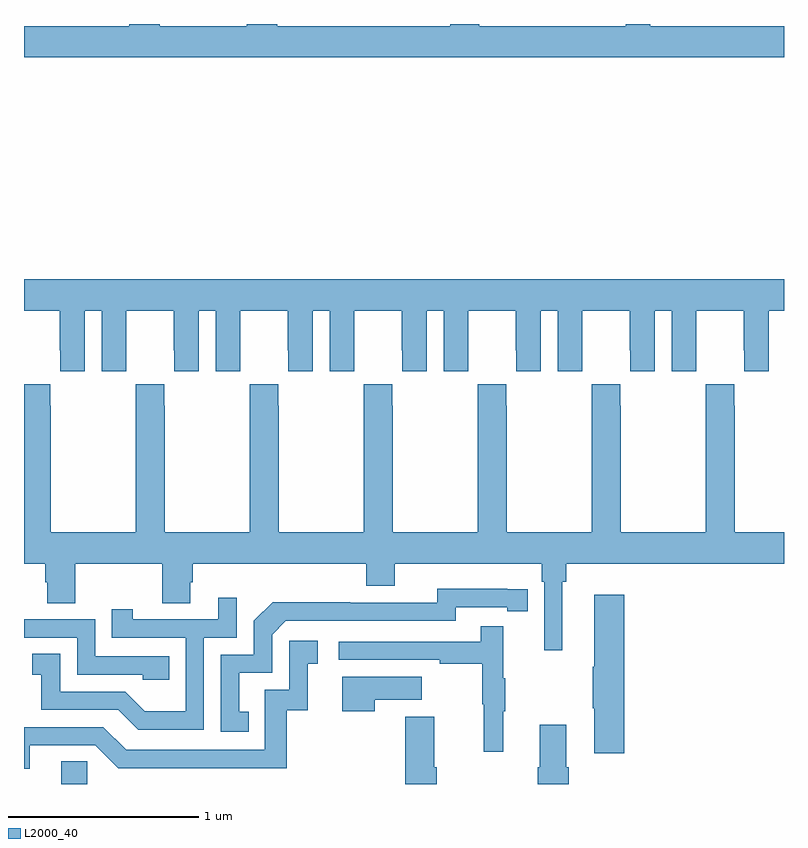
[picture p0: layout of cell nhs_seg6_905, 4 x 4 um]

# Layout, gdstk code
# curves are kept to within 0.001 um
import gdstk
lib = gdstk.Library(unit=1e-6, precision=1e-09)
def R(c, l, rs):  # rectangles x0, y0, x1, y1
    for r in rs: c.add(gdstk.rectangle(r[:2], r[2:], *l))
def P(c, l, *ps):  # polygons
    for p in ps: c.add(gdstk.Polygon(p, *l))
L2000_40 = (2000, 40)

nhs_seg6_905 = lib.new_cell('nhs_seg6_905')
R(nhs_seg6_905, L2000_40, [(167.195,955.5,167.334,955.619)])
P(nhs_seg6_905, L2000_40, [(171,959.488),(170.297,959.488),(170.297,959.5),(170.168,959.5),(170.168,959.488),(169.396,959.488),(169.396,959.5),(169.244,959.5),(169.244,959.488),(168.332,959.488),(168.332,959.5),(168.172,959.5),(168.172,959.488),(167.715,959.488),(167.715,959.5),(167.555,959.5),(167.555,959.488),(167,959.488),(167,959.324),(171,959.324)],
  [(167.32,957.992),(167.408,957.992),(167.408,957.672),(167.538,957.672),(167.538,957.784),(167.539,957.784),(167.539,957.992),(167.789,957.992),(167.789,957.784),(167.79,957.784),(167.79,957.672),(167.92,957.672),(167.92,957.992),(168.008,957.992),(168.008,957.672),(168.138,957.672),(168.138,957.784),(168.139,957.784),(168.139,957.992),(168.389,957.992),(168.389,957.784),(168.39,957.784),(168.39,957.672),(168.52,957.672),(168.52,957.992),(168.608,957.992),(168.608,957.672),(168.738,957.672),(168.738,957.784),(168.739,957.784),(168.739,957.992),(168.989,957.992),(168.989,957.784),(168.99,957.784),(168.99,957.672),(169.12,957.672),(169.12,957.992),(169.208,957.992),(169.208,957.672),(169.338,957.672),(169.338,957.784),(169.339,957.784),(169.339,957.992),(169.589,957.992),(169.589,957.784),(169.59,957.784),(169.59,957.672),(169.72,957.672),(169.72,957.992),(169.808,957.992),(169.808,957.672),(169.938,957.672),(169.938,957.784),(169.939,957.784),(169.939,957.992),(170.189,957.992),(170.189,957.784),(170.19,957.784),(170.19,957.672),(170.32,957.672),(170.32,957.992),(170.408,957.992),(170.408,957.672),(170.538,957.672),(170.538,957.784),(170.539,957.784),(170.539,957.992),(170.789,957.992),(170.789,957.784),(170.79,957.784),(170.79,957.672),(170.92,957.672),(170.92,957.992),(171,957.992),(171,958.156),(167,958.156),(167,957.992),(167.189,957.992),(167.189,957.784),(167.19,957.784),(167.19,957.672),(167.32,957.672)],
  [(169.834,956.564),(169.853,956.564),(169.853,956.66),(171,956.66),(171,956.824),(170.742,956.824),(170.742,957.491),(170.739,957.491),(170.739,957.604),(170.589,957.604),(170.589,957.491),(170.587,957.491),(170.587,956.824),(170.142,956.824),(170.142,957.491),(170.139,957.491),(170.139,957.604),(169.989,957.604),(169.989,957.491),(169.987,957.491),(169.987,956.824),(169.542,956.824),(169.542,957.491),(169.539,957.491),(169.539,957.604),(169.389,957.604),(169.389,957.491),(169.387,957.491),(169.387,956.824),(168.942,956.824),(168.942,957.491),(168.939,957.491),(168.939,957.604),(168.789,957.604),(168.789,957.491),(168.787,957.491),(168.787,956.824),(168.342,956.824),(168.342,957.491),(168.339,957.491),(168.339,957.604),(168.189,957.604),(168.189,957.491),(168.187,957.491),(168.187,956.824),(167.742,956.824),(167.742,957.491),(167.739,957.491),(167.739,957.604),(167.589,957.604),(167.589,957.491),(167.587,957.491),(167.587,956.824),(167.142,956.824),(167.142,957.491),(167.139,957.491),(167.139,957.604),(167,957.604),(167,956.66),(167.111,956.66),(167.111,956.562),(167.123,956.562),(167.123,956.452),(167.271,956.452),(167.271,956.66),(167.728,956.66),(167.728,956.452),(167.875,956.452),(167.875,956.562),(167.888,956.562),(167.888,956.66),(168.8,956.66),(168.8,956.543),(168.952,956.543),(168.952,956.66),(169.724,956.66),(169.724,956.564),(169.737,956.564),(169.737,956.205),(169.834,956.205)],
  [(168.182,955.881),(168.133,955.881),(168.133,956.085),(168.306,956.085),(168.306,956.286),(168.378,956.358),(169.272,956.358),(169.272,956.43),(169.544,956.43),(169.544,956.41),(169.652,956.41),(169.652,956.526),(169.176,956.527),(169.176,956.454),(168.716,956.454),(168.716,956.456),(168.308,956.456),(168.21,956.358),(168.21,956.181),(168.036,956.181),(168.036,955.776),(168.182,955.776)],
  [(170.159,956.497),(170,956.497),(170,956.117),(169.993,956.117),(169.993,955.9),(170,955.9),(170,955.662),(170.159,955.662)],
  [(167.946,956.271),(168.12,956.271),(168.12,956.479),(168.023,956.479),(168.023,956.367),(167.572,956.367),(167.572,956.419),(167.461,956.419),(167.461,956.271),(167.85,956.271),(167.85,955.882),(167.636,955.882),(167.532,955.986),(167.19,955.986),(167.19,956.185),(167.043,956.185),(167.043,956.075),(167.092,956.075),(167.092,955.89),(167.495,955.89),(167.6,955.785),(167.946,955.785)],
  [(167.765,956.172),(167.376,956.172),(167.376,956.367),(167,956.367),(167,956.271),(167.28,956.271),(167.28,956.076),(167.625,956.076),(167.625,956.049),(167.765,956.049)],
  [(169.523,955.883),(169.534,955.883),(169.534,956.057),(169.523,956.057),(169.523,956.329),(169.405,956.329),(169.405,956.25),(168.657,956.25),(168.657,956.154),(169.189,956.154),(169.189,956.134),(169.413,956.134),(169.413,955.92),(169.42,955.92),(169.42,955.671),(169.523,955.671)],
  [(167.029,955.704),(167.376,955.704),(167.496,955.584),(168.383,955.584),(168.383,955.887),(168.494,955.887),(168.494,956.133),(168.547,956.133),(168.547,956.254),(168.396,956.254),(168.396,955.995),(168.267,955.995),(168.267,955.68),(167.538,955.68),(167.418,955.8),(167,955.8),(167,955.581),(167.029,955.581)],
  [(168.845,955.943),(169.093,955.943),(169.093,956.065),(168.674,956.065),(168.674,955.884),(168.845,955.884)],
  [(169.172,955.588),(169.159,955.588),(169.159,955.855),(169.007,955.855),(169.007,955.5),(169.172,955.5)],
  [(169.868,955.588),(169.855,955.588),(169.855,955.813),(169.715,955.813),(169.715,955.588),(169.703,955.588),(169.703,955.5),(169.868,955.5)])

lib.write_gds('nhs_seg6_905.gds')
